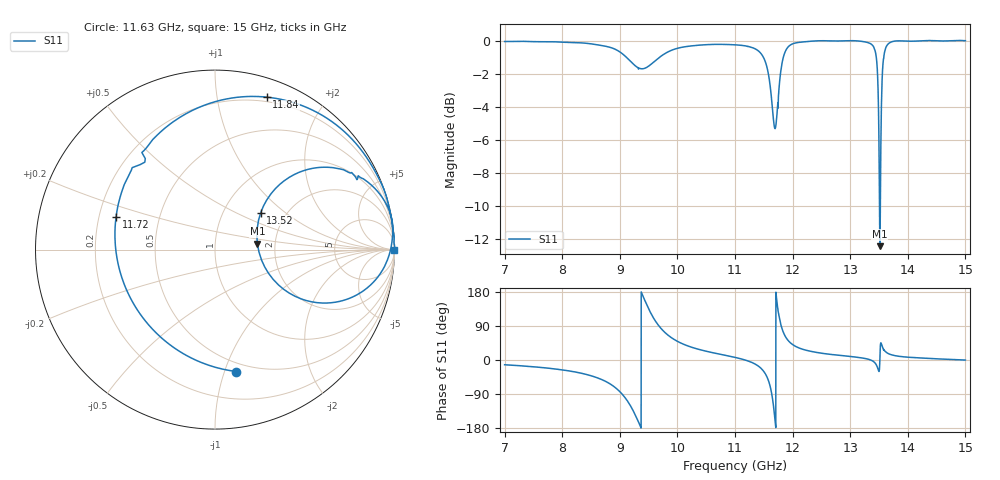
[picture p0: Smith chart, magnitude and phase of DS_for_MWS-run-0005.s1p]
! TOUCHSTONE file generated by CST DESIGN STUDIO
! Date and time: Mon Feb 10 16:42:54 2025
! Project name: C:\Work\MatlabApps\UnitCellType2OptimizationMatlab\CST\unitcell.cst
! Tree item: Tasks\Sweep1\SPara1\S-Parameters
! Header version: 2024
! Port assignment regex: !\s*Touchstone port\s*([0-9]+)\s*=\s*(CST MWS port|CST DES external port|CST DES block port)\s*(.+)\s* \(\"(.*)\"\)(\s*mode\s*([0-9]+))?.*
! Touchstone port assignment:
! Touchstone port 1 = CST DES external port 1 ("")
# GHz S MA R 50
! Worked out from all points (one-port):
!   4001 points, 7 GHz to 15 GHz, reference 50 ohm
!   lowest |S11| = -12.5 dB at 13.52 GHz (marker M1), VSWR 1.63, Z = 80.7 + j5.57 ohm
!   |S11| at or under -10 dB: 13.50855 GHz to 13.52338 GHz (14.83 MHz wide, 0.11 % of centre)
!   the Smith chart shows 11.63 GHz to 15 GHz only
!   S11 on the Smith chart (normalised r, x): 11.63 GHz: 0.42, -1.10; 11.72 GHz: 0.27, +0.15; 11.84 GHz: 0.16, +1.38; 13.52 GHz: 1.49, +0.69; 15 GHz: open
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7  0.994 -12.5
8  0.9894 -26.1
8.636  0.9698 -48.5
9  0.9246 -83.5
9.2  0.8606 -124.7
9.388  0.8217 173.8
9.508  0.8389 132.7
9.622  0.8712 102.0
9.8  0.9172 70.3
10  0.9479 49.3
11  0.9713 6.9
11.454  0.9126 -22.3
11.552  0.8346 -43.6
11.626  0.6898 -80.0
11.67  0.5711 -123.5
11.722  0.5807 161.6
11.778  0.7615 105.1
11.844  0.897 71.3
12  0.9779 40.7
13  0.9997 9.4
13.406  0.9576 -4.2
13.472  0.8096 -19.1
13.516  0.2384 7.8
13.524  0.3275 38.9
13.566  0.8358 32.4
13.644  0.9702 18.4
14  0.9963 7.4
15  0.9997 -0.1
